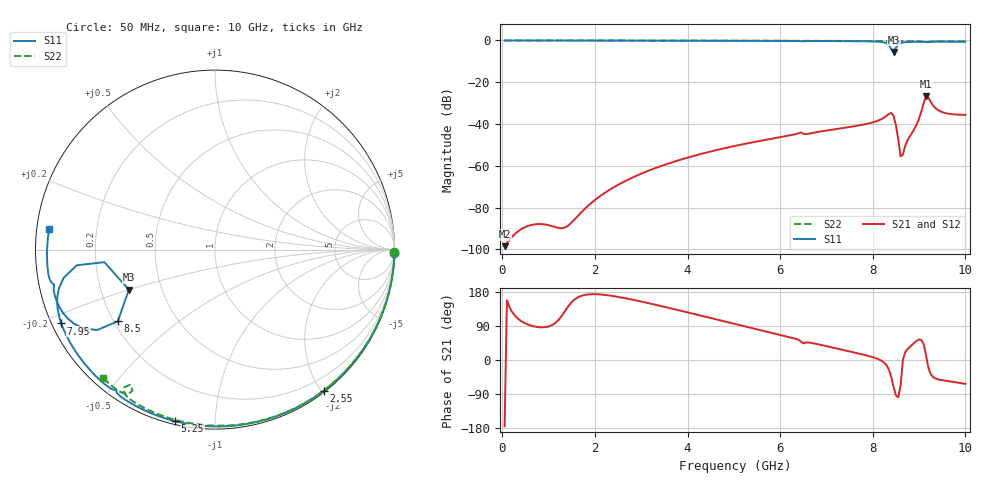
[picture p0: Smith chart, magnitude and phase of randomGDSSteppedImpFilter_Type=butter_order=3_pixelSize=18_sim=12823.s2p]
! freq	dB(S11)	phase(S11)	dB(S12)	phase(S12)
!  dB(S21)	phase(S21)	dB(S22)	phase(S22)
!S-par simulation data
#  GHz  S  DB  R 50
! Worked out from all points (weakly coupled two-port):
!   200 points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, 50 MHz to 10 GHz, reference 50 ohm
!   highest |S21| = -26.82 dB at 9.15 GHz (marker M1); lowest = -98.5 dB at 50 MHz (marker M2)
!   lowest |S11| = -5.5 dB at 8.45 GHz (marker M3), VSWR 3.25, Z = 16.1 - j9.98 ohm
!   |S11| at or under -10 dB: nowhere
!   |S22| runs from -1.0 to 0.0 dB; largest |S21 - S12| = 0
!   S11 on the Smith chart (normalised r, x): 50 MHz: open; 2.55 GHz: 0.02, -2.03; 5.25 GHz: 0.02, -0.79; 7.95 GHz: 0.03, -0.23; 8.5 GHz: 0.22, -0.32; 10 GHz: 0.04, +0.06
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0.05  -0.00 -1.1  -98.47 -174.7  -98.47 -174.7  -0.00 -0.8
0.85  -0.02 -17.9  -87.92 86.2  -87.92 86.2  -0.01 -12.8
1.75  -0.05 -36.4  -81.28 170.8  -81.28 170.8  -0.03 -26.2
2.55  -0.07 -52.4  -68.50 165.4  -68.50 165.4  -0.05 -37.8
3.4  -0.09 -68.9  -60.34 143.2  -60.34 143.2  -0.07 -49.9
5.05  -0.15 -99.5  -50.35 94.3  -50.35 94.3  -0.11 -72.2
5.25  -0.16 -103.1  -49.44 88.3  -49.44 88.3  -0.12 -74.8
6.45  -0.37 -125.2  -44.05 48.7  -44.05 48.7  -0.17 -90.0
6.7  -0.27 -128.8  -44.23 44.5  -44.23 44.5  -0.18 -93.1
7.95  -0.44 -154.4  -39.51 9.2  -39.51 9.2  -0.26 -108.1
8.25  -0.95 -166.0  -36.81 -7.5  -36.81 -7.5  -0.28 -111.7
8.35  -2.22 -173.5  -35.13 -25.8  -35.13 -25.8  -0.29 -112.9
8.4  -4.15 -173.5  -34.70 -45.1  -34.70 -45.1  -0.29 -113.5
8.45  -5.53 -155.0  -36.20 -72.0  -36.20 -72.0  -0.30 -114.2
8.5  -3.43 -143.6  -40.63 -93.5  -40.63 -93.5  -0.31 -114.7
8.6  -1.33 -149.4  -55.48 -67.8  -55.48 -67.8  -0.32 -116.0
8.65  -1.02 -152.5  -54.64 0.2  -54.64 0.2  -0.32 -116.6
8.75  -0.76 -157.1  -47.80 28.7  -47.80 28.7  -0.34 -117.9
9  -0.65 -165.0  -37.32 54.0  -37.32 54.0  -0.44 -121.6
9.15  -0.75 -167.8  -26.82 12.6  -26.82 12.6  -1.02 -122.1
9.45  -0.56 -174.9  -33.83 -52.2  -33.83 -52.2  -0.42 -124.2
10  -0.62 172.8  -35.62 -63.0  -35.62 -63.0  -0.45 -131.0
